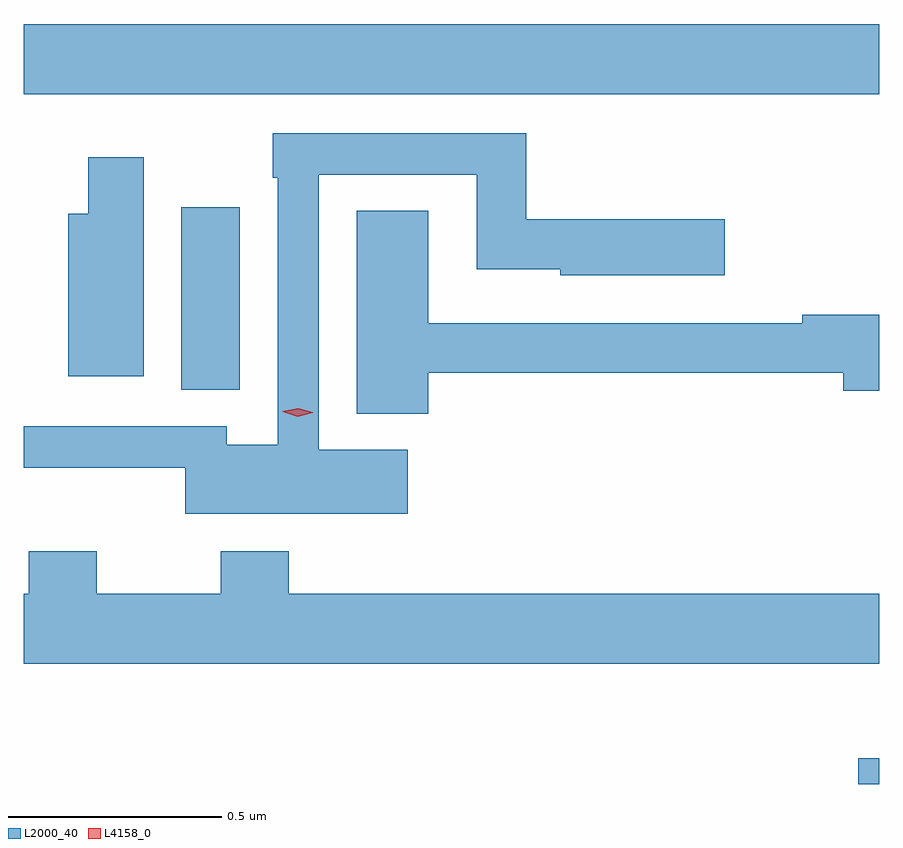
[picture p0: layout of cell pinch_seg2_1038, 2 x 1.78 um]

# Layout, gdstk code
import gdstk
lib = gdstk.Library(unit=1e-6, precision=1e-09)
def R(c, l, rs):  # rectangles x0, y0, x1, y1
    for r in rs: c.add(gdstk.rectangle(r[:2], r[2:], *l))
def P(c, l, *ps):  # polygons
    for p in ps: c.add(gdstk.Polygon(p, *l))
L2000_40 = (2000, 40)
L4158_0 = (4158, 0)

pinch_seg2_1038 = lib.new_cell('pinch_seg2_1038')
R(pinch_seg2_1038, L2000_40, [(314.563,598.071,314.612,598.131), (312.98,598.993,313.117,599.419), (312.612,599.684,314.612,599.848)])
P(pinch_seg2_1038, L2000_40, [(313.51,598.852),(313.302,598.852),(313.302,599.496),(313.671,599.496),(313.671,599.274),(313.866,599.274),(313.866,599.261),(314.251,599.261),(314.251,599.391),(313.787,599.391),(313.787,599.592),(313.194,599.592),(313.194,599.489),(313.206,599.489),(313.206,598.864),(313.086,598.864),(313.086,598.908),(312.612,598.908),(312.612,598.811),(312.99,598.811),(312.99,598.703),(313.51,598.703)],
  [(312.892,599.536),(312.763,599.536),(312.763,599.404),(312.716,599.404),(312.716,599.024),(312.892,599.024)],
  [(313.558,599.032),(314.528,599.032),(314.528,598.99),(314.612,598.99),(314.612,599.168),(314.432,599.168),(314.432,599.148),(313.558,599.148),(313.558,599.411),(313.391,599.411),(313.391,598.937),(313.558,598.937)],
  [(314.612,598.516),(313.232,598.516),(313.232,598.615),(313.072,598.615),(313.072,598.516),(312.783,598.516),(312.783,598.615),(312.623,598.615),(312.623,598.516),(312.612,598.516),(312.612,598.352),(314.612,598.352)])
P(pinch_seg2_1038, L4158_0, [(313.253,598.93),(313.218,598.941),(313.218,598.941),(313.218,598.942),(313.254,598.95),(313.288,598.94),(313.288,598.939),(313.288,598.939)])

lib.write_gds('pinch_seg2_1038.gds')
